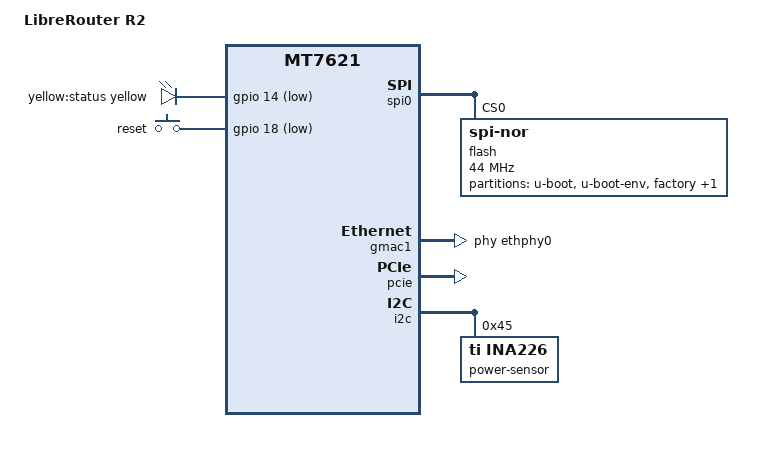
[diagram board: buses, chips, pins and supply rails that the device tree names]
// SPDX-License-Identifier: GPL-2.0-or-later

#include "mt7621.dtsi"

#include <dt-bindings/gpio/gpio.h>
#include <dt-bindings/input/input.h>
#include <dt-bindings/leds/common.h>

/ {
	compatible = "librerouter,librerouter-r2", "mediatek,mt7621-soc";
	model = "LibreRouter R2";

	leds {
		compatible = "gpio-leds";

		led_status {
			label = "yellow:status";
			color = <LED_COLOR_ID_YELLOW>;
			function = LED_FUNCTION_STATUS;
			gpios = <&gpio 14 GPIO_ACTIVE_LOW>;
		};

	};

	keys {
		compatible = "gpio-keys";

		reset {
			label = "reset";
			gpios = <&gpio 18 GPIO_ACTIVE_LOW>;
			linux,code = <KEY_RESTART>;
		};
	};
};

&spi0 {
	status = "okay";

	flash@0 {
		compatible = "jedec,spi-nor";
		reg = <0>;
		spi-max-frequency = <44000000>;
		broken-flash-reset;

		partitions {
			compatible = "fixed-partitions";
			#address-cells = <1>;
			#size-cells = <1>;

			partition@0 {
				label = "u-boot";
				reg = <0x0 0x30000>;
				read-only;
			};

			partition@30000 {
				label = "u-boot-env";
				reg = <0x30000 0x10000>;
				read-only;
			};

			factory: partition@40000 {
				label = "factory";
				reg = <0x40000 0x10000>;
				read-only;
			};

			partition@50000 {
				compatible = "denx,uimage";
				label = "firmware";
				reg = <0x50000 0x1fb0000>;
			};
		};
	};
};

&gmac1 {
	status = "okay";
	label = "wan";
	phy-handle = <&ethphy0>;

	nvmem-cells = <&macaddr_factory_e000>;
	nvmem-cell-names = "mac-address";
};

&gmac0 {
	nvmem-cells = <&macaddr_factory_e006>;
	nvmem-cell-names = "mac-address";
};

&switch0 {
	ports {
		port@1 {
			status = "okay";
			label = "lan1";
		};

		port@2 {
			status = "okay";
			label = "lan2";
		};

		port@3 {
			status = "okay";
			label = "lan3";
		};

		port@4 {
			status = "okay";
			label = "sfp";
		};

	};
};

&pcie {
	status = "okay";
	//TODO: 	reset-gpios = <&gpio 19 GPIO_ACTIVE_LOW>, <&gpio 8 GPIO_ACTIVE_LOW>;
};


&state_default {
	gpio {
		groups = "wdt", "gpio", "uart2", "uart3";
		function = "gpio";
	};
};

&i2c {
	status = "okay";

	power-sensor@45 {
		compatible = "ti,ina226";
		reg = <0x45>;
		shunt-resistor = <20>;
	};
};

&factory {
	compatible = "nvmem-cells";
	#address-cells = <1>;
	#size-cells = <1>;

	macaddr_factory_e000: macaddr@e000 {
		reg = <0xe000 0x6>;
	};

	macaddr_factory_e006: macaddr@e006 {
		reg = <0xe006 0x6>;
	};
};
